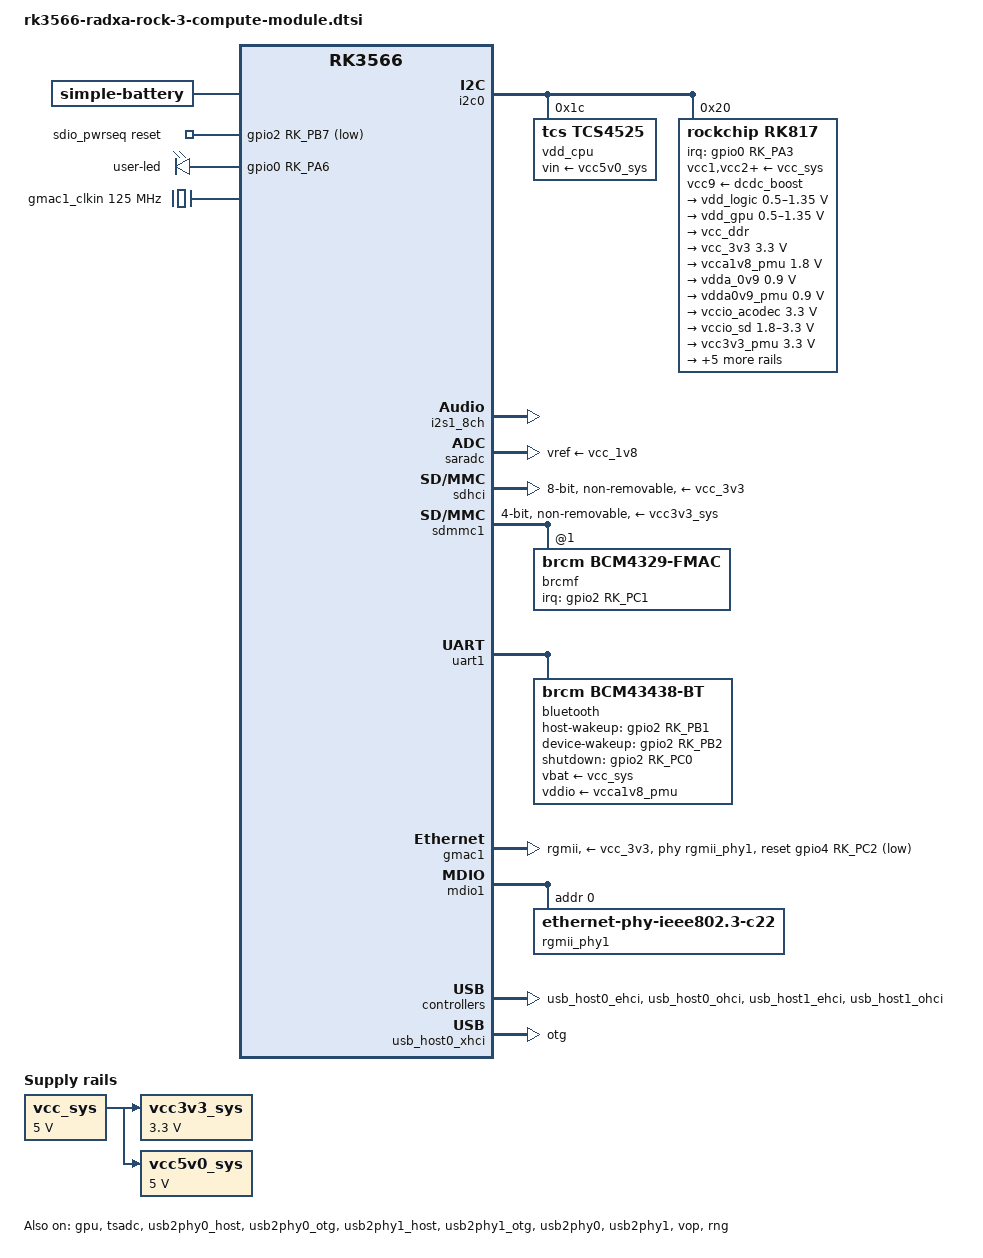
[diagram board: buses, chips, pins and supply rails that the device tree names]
// SPDX-License-Identifier: (GPL-2.0+ OR MIT)
/*
 * Copyright (c) 2020 Rockchip Electronics Co., Ltd.
 * Copyright (c) 2021 Radxa Limited.
 *
 */

/dts-v1/;

#include <dt-bindings/gpio/gpio.h>
#include <dt-bindings/pinctrl/rockchip.h>
#include <dt-bindings/soc/rockchip,vop2.h>
#include "rk3566.dtsi"

/ {
	compatible = "radxa,rock-3-compute-module", "rockchip,rk3566";

	aliases {
		ethernet0 = &gmac1;
		mmc0 = &sdmmc0;
		mmc1 = &sdhci;
		mmc2 = &sdmmc1;
	};

	chosen: chosen {
		stdout-path = "serial2:1500000n8";
	};

	battery: battery {
		compatible = "simple-battery";
		charge-full-design-microamp-hours = <3000000>;
		charge-term-current-microamp = <300000>;
		constant-charge-current-max-microamp = <2000000>;
		constant-charge-voltage-max-microvolt = <4200000>;
		factory-internal-resistance-micro-ohms = <180000>;
		voltage-max-design-microvolt = <4100000>;
		voltage-min-design-microvolt = <3500000>;

		ocv-capacity-celsius = <20>;
		ocv-capacity-table-0 =	<4046950 100>, <4001920 95>, <3967900 90>, <3919950 85>,
					<3888450 80>, <3861850 75>, <3831540 70>, <3799130 65>,
					<3768190 60>, <3745650 55>, <3726610 50>, <3711630 45>,
					<3696720 40>, <3685660 35>, <3674950 30>, <3663050 25>,
					<3649470 20>, <3635260 15>, <3616920 10>, <3592440 5>,
					<3574170 0>;
	};

	rk817-sound {
		status = "okay";
		compatible = "simple-audio-card";
		simple-audio-card,format = "i2s";
		simple-audio-card,name = "Analog RK817";
		simple-audio-card,mclk-fs = <256>;

		simple-audio-card,cpu {
			sound-dai = <&i2s1_8ch>;
		};

		simple-audio-card,codec {
			sound-dai = <&rk817>;
		};
	};

	vcc_sys: vcc-sys {
		compatible = "regulator-fixed";
		regulator-name = "vcc_sys";
		regulator-always-on;
		regulator-boot-on;
		regulator-min-microvolt = <5000000>;
		regulator-max-microvolt = <5000000>;
	};

	vcc3v3_sys: vcc3v3-sys {
		compatible = "regulator-fixed";
		regulator-name = "vcc3v3_sys";
		regulator-always-on;
		regulator-boot-on;
		regulator-min-microvolt = <3300000>;
		regulator-max-microvolt = <3300000>;
		vin-supply = <&vcc_sys>;
	};

	vcc5v0_sys: vcc5v0-sys {
		compatible = "regulator-fixed";
		regulator-name = "vcc5v0_sys";
		regulator-always-on;
		regulator-boot-on;
		regulator-min-microvolt = <5000000>;
		regulator-max-microvolt = <5000000>;
		vin-supply = <&vcc_sys>;
	};

	sdio_pwrseq: sdio-pwrseq {
		compatible = "mmc-pwrseq-simple";
		clocks = <&rk817 1>;
		clock-names = "ext_clock";
		pinctrl-names = "default";
		pinctrl-0 = <&wifi_enable_h>;

		/*
		 * On the module itself this is one of these (depending
		 * on the actual card populated):
		 * - SDIO_RESET_L_WL_REG_ON
		 * - PDN (power down when low)
		 */
		reset-gpios = <&gpio2 RK_PB7 GPIO_ACTIVE_LOW>;		//WIFI_REG_ON_H
	};

	gpio_leds: gpio-leds {
		compatible = "gpio-leds";
		status = "okay";

		user-led {
			gpios = <&gpio0 RK_PA6 GPIO_ACTIVE_HIGH>;
			linux,default-trigger = "heartbeat";
			default-state = "on";
			pinctrl-0 = <&user_led_set>;
		};
	};

	gmac1_clkin: external-gmac1-clock {
		compatible = "fixed-clock";
		clock-frequency = <125000000>;
		clock-output-names = "gmac1_clkin";
		#clock-cells = <0>;
	};
};

&cpu0 {
	cpu-supply = <&vdd_cpu>;
};

&cpu1 {
	cpu-supply = <&vdd_cpu>;
};

&cpu2 {
	cpu-supply = <&vdd_cpu>;
};

&cpu3 {
	cpu-supply = <&vdd_cpu>;
};

&gpu {
	mali-supply = <&vdd_gpu>;
	status = "okay";
};

&pmu_io_domains {
	status = "okay";
	//pmuio1-supply = <&vcc_3v3>;
	pmuio2-supply = <&vcc_3v3>;
	vccio1-supply = <&vccio_acodec>;
	vccio2-supply = <&vcc_1v8>;
	vccio3-supply = <&vccio_sd>;
	vccio4-supply = <&vcc_1v8>;
	vccio5-supply = <&vcc_3v3>;
	vccio6-supply = <&vcc_3v3>;
	vccio7-supply = <&vcc_3v3>;
};

&i2c0 {
	status = "okay";

	vdd_cpu: tcs4525@1c {
		compatible = "tcs,tcs4525";
		reg = <0x1c>;
		vin-supply = <&vcc5v0_sys>;
		regulator-compatible = "fan53555-reg";
		regulator-name = "vdd_cpu";
		regulator-min-microvolt = <712500>;
		regulator-max-microvolt = <1390000>;
		regulator-init-microvolt = <900000>;
		regulator-ramp-delay = <2300>;
		fcs,suspend-voltage-selector = <1>;
		regulator-boot-on;
		regulator-always-on;
		regulator-state-mem {
			regulator-off-in-suspend;
		};
	};

	rk817: pmic@20 {
		compatible = "rockchip,rk817";
		reg = <0x20>;
		interrupt-parent = <&gpio0>;
		interrupts = <RK_PA3 IRQ_TYPE_LEVEL_LOW>;
		assigned-clocks = <&cru I2S1_MCLKOUT_TX>;
		assigned-clock-parents = <&cru CLK_I2S1_8CH_TX>;
		clock-names = "mclk";
		clocks = <&cru I2S1_MCLKOUT_TX>;
		clock-output-names = "rk808-clkout1", "rk808-clkout2";
		#clock-cells = <1>;
		pinctrl-names = "default";
		pinctrl-0 = <&pmic_int_l>, <&i2s1m0_mclk>;
		rockchip,system-power-controller;
		#sound-dai-cells = <0>;
		wakeup-source;

		vcc1-supply = <&vcc_sys>;
		vcc2-supply = <&vcc_sys>;
		vcc3-supply = <&vcc_sys>;
		vcc4-supply = <&vcc_sys>;
		vcc5-supply = <&vcc_sys>;
		vcc6-supply = <&vcc_sys>;
		vcc7-supply = <&vcc_sys>;
		vcc8-supply = <&vcc_sys>;
		vcc9-supply = <&dcdc_boost>;

		regulators {
			vdd_logic: DCDC_REG1 {
				regulator-always-on;
				regulator-boot-on;
				regulator-min-microvolt = <500000>;
				regulator-max-microvolt = <1350000>;
				regulator-init-microvolt = <900000>;
				regulator-ramp-delay = <6001>;
				regulator-initial-mode = <0x2>;
				regulator-name = "vdd_logic";
				regulator-state-mem {
					regulator-off-in-suspend;
					regulator-suspend-microvolt = <900000>;
				};
			};

			vdd_gpu: DCDC_REG2 {
				regulator-always-on;
				regulator-boot-on;
				regulator-min-microvolt = <500000>;
				regulator-max-microvolt = <1350000>;
				regulator-init-microvolt = <900000>;
				regulator-ramp-delay = <6001>;
				regulator-initial-mode = <0x2>;
				regulator-name = "vdd_gpu";
				regulator-state-mem {
					regulator-off-in-suspend;
				};
			};

			vcc_ddr: DCDC_REG3 {
				regulator-always-on;
				regulator-boot-on;
				regulator-initial-mode = <0x2>;
				regulator-name = "vcc_ddr";
				regulator-state-mem {
					regulator-on-in-suspend;
				};
			};

			vcc_3v3: DCDC_REG4 {
				regulator-always-on;
				regulator-boot-on;
				regulator-min-microvolt = <3300000>;
				regulator-max-microvolt = <3300000>;
				regulator-initial-mode = <0x2>;
				regulator-name = "vcc_3v3";
				regulator-state-mem {
					regulator-on-in-suspend;
					regulator-suspend-microvolt = <3300000>;
				};
			};

			vcca1v8_pmu: LDO_REG1 {
				regulator-always-on;
				regulator-boot-on;
				regulator-min-microvolt = <1800000>;
				regulator-max-microvolt = <1800000>;
				regulator-name = "vcca1v8_pmu";
				regulator-state-mem {
					regulator-on-in-suspend;
					regulator-suspend-microvolt = <1800000>;
				};
			};

			vdda_0v9: LDO_REG2 {
				regulator-always-on;
				regulator-boot-on;
				regulator-min-microvolt = <900000>;
				regulator-max-microvolt = <900000>;
				regulator-name = "vdda_0v9";
				regulator-state-mem {
					regulator-off-in-suspend;
				};
			};

			vdda0v9_pmu: LDO_REG3 {
				regulator-always-on;
				regulator-boot-on;
				regulator-min-microvolt = <900000>;
				regulator-max-microvolt = <900000>;
				regulator-name = "vdda0v9_pmu";
				regulator-state-mem {
					regulator-on-in-suspend;
					regulator-suspend-microvolt = <900000>;
				};
			};

			vccio_acodec: LDO_REG4 {
				regulator-always-on;
				regulator-boot-on;
				regulator-min-microvolt = <3300000>;
				regulator-max-microvolt = <3300000>;
				regulator-name = "vccio_acodec";
				regulator-state-mem {
					regulator-off-in-suspend;
				};
			};

			vccio_sd: LDO_REG5 {
				regulator-always-on;
				regulator-boot-on;
				regulator-min-microvolt = <1800000>;
				regulator-max-microvolt = <3300000>;
				regulator-name = "vccio_sd";
				regulator-state-mem {
					regulator-off-in-suspend;
				};
			};

			vcc3v3_pmu: LDO_REG6 {
				regulator-always-on;
				regulator-boot-on;
				regulator-min-microvolt = <3300000>;
				regulator-max-microvolt = <3300000>;
				regulator-name = "vcc3v3_pmu";
				regulator-state-mem {
					regulator-on-in-suspend;
					regulator-suspend-microvolt = <3000000>;
				};
			};

			vcc_1v8: LDO_REG7 {
				regulator-always-on;
				regulator-boot-on;
				regulator-min-microvolt = <1800000>;
				regulator-max-microvolt = <1800000>;
				regulator-name = "vcc_1v8";
				regulator-state-mem {
					regulator-off-in-suspend;
				};
			};

			vcc1v8_dvp: LDO_REG8 {
				regulator-always-on;
				regulator-boot-on;
				regulator-min-microvolt = <1800000>;
				regulator-max-microvolt = <1800000>;
				regulator-name = "vcc1v8_dvp";
				regulator-state-mem {
					regulator-off-in-suspend;
				};
			};

			vcc2v8_dvp: LDO_REG9 {
				regulator-always-on;
				regulator-boot-on;
				regulator-min-microvolt = <2800000>;
				regulator-max-microvolt = <2800000>;
				regulator-name = "vcc2v8_dvp";
				regulator-state-mem {
					regulator-off-in-suspend;
				};
			};

			dcdc_boost: BOOST {
				regulator-always-on;
				regulator-boot-on;
				regulator-min-microvolt = <5000000>;
				regulator-max-microvolt = <5000000>;
				regulator-name = "boost";
				regulator-state-mem {
					regulator-off-in-suspend;
				};
			};

			otg_switch: OTG_SWITCH {
				regulator-name = "otg_switch";
				regulator-state-mem {
					regulator-off-in-suspend;
				};
			};
		};

		rk817_charger: charger {
			monitored-battery = <&battery>;
			rockchip,resistor-sense-micro-ohms = <10000>;
			rockchip,sleep-enter-current-microamp = <300000>;
			rockchip,sleep-filter-current-microamp = <100000>;
		};

		rk817_codec: codec {
			rockchip,mic-in-differential;
		};
	};
};

&i2s1_8ch {
	status = "okay";
	pinctrl-names = "default";
	pinctrl-0 = <&i2s1m0_sclktx
		     &i2s1m0_lrcktx
		     &i2s1m0_sdi0
		     &i2s1m0_sdo0>;
	rockchip,trcm-sync-tx-only;
};

&saradc {
	status = "okay";
	vref-supply = <&vcc_1v8>;
};

&sdhci {
	max-frequency = <200000000>;
	bus-width = <8>;
	mmc-hs200-1_8v;
	non-removable;
	vmmc-supply = <&vcc_3v3>;
	vqmmc-supply = <&vcc_1v8>;
	status = "okay";
};

&sdmmc1 {
	max-frequency = <100000000>;
	bus-width = <4>;

	cap-sd-highspeed;
	cap-sdio-irq;
	sd-uhs-sdr50;

	keep-power-in-suspend;
	mmc-pwrseq = <&sdio_pwrseq>;
	non-removable;
	pinctrl-names = "default";
	pinctrl-0 = <&sdmmc1_bus4 &sdmmc1_cmd &sdmmc1_clk>;
	vmmc-supply = <&vcc3v3_sys>;
	vqmmc-supply = <&vcc_1v8>;
	status = "okay";

	#address-cells = <1>;
	#size-cells = <0>;

	brcmf: wifi@1 {
		compatible = "brcm,bcm4329-fmac";
		reg = <1>;
		interrupt-parent = <&gpio2>;
		interrupts = <RK_PC1 GPIO_ACTIVE_HIGH>;
		interrupt-names = "host-wake";
		brcm,drive-strength = <5>;
		pinctrl-names = "default";
		pinctrl-0 = <&wifi_host_wake_l>;
	};
};

&uart1 {
	pinctrl-names = "default";
	pinctrl-0 = <&uart1m0_xfer &uart1m0_ctsn &uart1m0_rtsn>;
	status = "okay";
	uart-has-rtscts;
	rts_gpios = <&gpio2 RK_PB5 GPIO_ACTIVE_LOW>;

	bluetooth {
		compatible = "brcm,bcm43438-bt";
		clocks = <&rk817 1>;
		clock-names = "lpo";
		host-wakeup-gpios = <&gpio2 RK_PB1 GPIO_ACTIVE_HIGH>;
		device-wakeup-gpios = <&gpio2 RK_PB2 GPIO_ACTIVE_HIGH>;
		shutdown-gpios = <&gpio2 RK_PC0 GPIO_ACTIVE_HIGH>;
		pinctrl-names = "default";
		pinctrl-0 = <&bt_host_wake_l &bt_wake_l &bt_enable_h>;
		vbat-supply = <&vcc_sys>;
		vddio-supply = <&vcca1v8_pmu>;
		max-speed = <3000000>;
	};
};

&gmac1 {
	assigned-clocks = <&cru SCLK_GMAC1_RX_TX>, <&cru SCLK_GMAC1_RGMII_SPEED>, <&cru SCLK_GMAC1>;
	assigned-clock-parents = <&cru SCLK_GMAC1_RGMII_SPEED>, <&cru SCLK_GMAC1>, <&gmac1_clkin>;
	clock_in_out = "input";
	phy-supply = <&vcc_3v3>;
	phy-mode = "rgmii";
	pinctrl-names = "default";
	pinctrl-0 = <&gmac1m0_miim
		     &gmac1m0_tx_bus2
		     &gmac1m0_rx_bus2
		     &gmac1m0_rgmii_clk
		     &gmac1m0_clkinout
		     &gmac1m0_rgmii_bus>;
	snps,reset-gpio = <&gpio4 RK_PC2 GPIO_ACTIVE_LOW>;
	snps,reset-active-low;
	/* Reset time is 20ms, 100ms for rtl8211f */
	snps,reset-delays-us = <0 20000 100000>;
	//tx_delay = <0x30>;
	//rx_delay = <0x10>;
	tx_delay = <0x46>;
	rx_delay = <0x2e>;

	phy-handle = <&rgmii_phy1>;
	status = "okay";
};

&mdio1 {
	rgmii_phy1: phy@0 {
		compatible="ethernet-phy-ieee802.3-c22";
		reg=<0x0>;
	};
};

&sfc {
	pinctrl-0 = <&fspi_pins>;
	pinctrl-names = "default";
	#address-cells = <1>;
	#size-cells = <0>;
	status = "disabled";

	spi_flash: spi-flash@0 {
		compatible = "jedec,spi-nor";
		reg = <0>;
		spi-max-frequency = <50000000>;
		spi-rx-bus-width = <4>;
		spi-tx-bus-width = <1>;

		partitions {
			compatible = "fixed-partitions";
			#address-cells = <1>;
			#size-cells = <1>;

			loader@0 {
				label = "loader";
				reg = <0x0 0x1000000>;
			};
		};
	};
};

&tsadc {
	/* tshut mode 0:CRU 1:GPIO */
	rockchip,hw-tshut-mode = <1>;
	/* tshut polarity 0:LOW 1:HIGH */
	rockchip,hw-tshut-polarity = <0>;
	status = "okay";
};

&usb2phy0_host {
	status = "okay";
};

&usb2phy0_otg {
	status = "okay";
};

&usb2phy1_host {
	status = "okay";
};

&usb2phy1_otg {
	status = "okay";
};

&usb2phy0 {
	status = "okay";
};

&usb2phy1 {
	status = "okay";
};

&usb_host0_ehci {
	status = "okay";
};

&usb_host0_ohci {
	status = "okay";
};

&usb_host1_ehci {
	status = "okay";
};

&usb_host1_ohci {
	status = "okay";
};

&usb_host0_xhci {
	dr_mode = "otg";
	extcon = <&usb2phy0>;
	status = "okay";
};

&combphy1 {
	status = "disabled";
};

&usb_host1_xhci {
	status = "disabled";
};

&combphy2 {
	status = "disabled";
};

&pcie2x1 {
	status = "disabled";
};

&vop {
	assigned-clocks = <&cru DCLK_VOP0>, <&cru DCLK_VOP1>;
	assigned-clock-parents = <&pmucru PLL_HPLL>, <&cru PLL_VPLL>;
	status = "okay";
};

&vop_mmu {
	status = "okay";
};

&vp0 {
	vp0_out_hdmi: endpoint@ROCKCHIP_VOP2_EP_HDMI0 {
		reg = <ROCKCHIP_VOP2_EP_HDMI0>;
		remote-endpoint = <&hdmi_in_vp0>;
	};
};

&rng {
	status = "okay";
};

&pinctrl {
	bt {
		bt_enable_h: bt-enable-h {
			rockchip,pins = <2 RK_PC0 RK_FUNC_GPIO &pcfg_pull_none>;
		};

		bt_host_wake_l: bt-host-wake-l {
			rockchip,pins = <2 RK_PB1 RK_FUNC_GPIO &pcfg_pull_down>;
		};

		bt_wake_l: bt-wake-l {
			rockchip,pins = <2 RK_PB2 RK_FUNC_GPIO &pcfg_pull_none>;
		};
	};

	pmic {
		pmic_int_l: pmic_int_l {
			rockchip,pins = <0 RK_PA3 RK_FUNC_GPIO &pcfg_pull_up>;
		};
	};

	wifi {
		wifi_enable_h: wifi-enable-h {
			rockchip,pins = <2 RK_PB7 RK_FUNC_GPIO &pcfg_pull_none>;
		};

		wifi_host_wake_l: wifi-host-wake-irq {
			rockchip,pins = <2 RK_PC1 RK_FUNC_GPIO &pcfg_pull_none>;
		};
	};

	wireless-bluetooth {
		uart1_gpios: uart1-gpios {
			rockchip,pins = <2 RK_PB5 RK_FUNC_GPIO &pcfg_pull_none>;
		};
	};

	leds {
		user_led_set: user-led {
			rockchip,pins = <0 RK_PA6 RK_FUNC_GPIO &pcfg_pull_none>;
		};
	};
};
